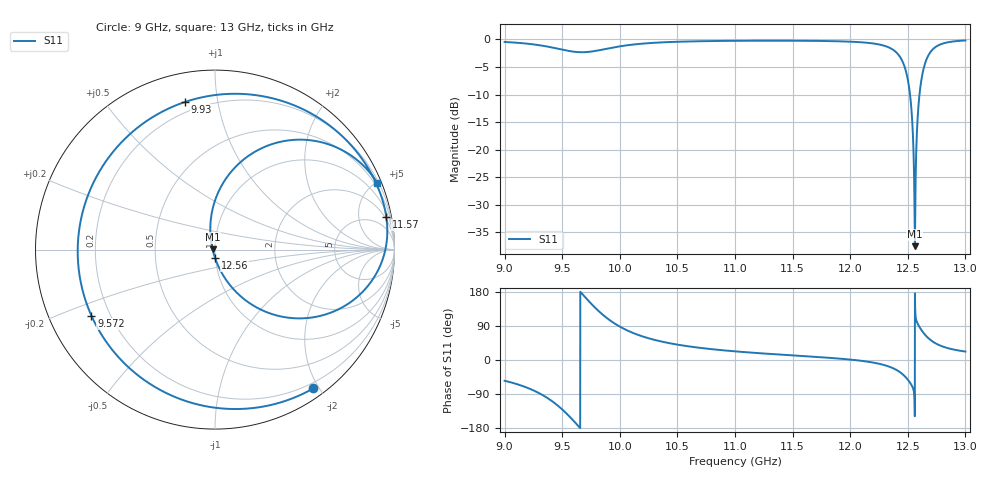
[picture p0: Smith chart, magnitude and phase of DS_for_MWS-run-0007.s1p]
! TOUCHSTONE file generated by CST DESIGN STUDIO
! Date and time: Tue Feb  4 18:17:02 2025
! Project name: C:\Work\MatlabApps\UnitCellOptimizationMatlab\CST\unitcell.cst
! Tree item: Tasks\Sweep1\SPara1\S-Parameters
! Header version: 2024
! Port assignment regex: !\s*Touchstone port\s*([0-9]+)\s*=\s*(CST MWS port|CST DES external port|CST DES block port)\s*(.+)\s* \(\"(.*)\"\)(\s*mode\s*([0-9]+))?.*
! Touchstone port assignment:
! Touchstone port 1 = CST DES external port 1 ("")
# GHz S MA R 50
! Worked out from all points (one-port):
!   4001 points, 9 GHz to 13 GHz, reference 50 ohm
!   lowest |S11| = -37.5 dB at 12.56 GHz (marker M1), VSWR 1.03, Z = 48.7 + j0.0948 ohm
!   |S11| at or under -10 dB: 12.52 GHz to 12.6 GHz (82.21 MHz wide, 0.655 % of centre)
!   S11 on the Smith chart (normalised r, x): 9 GHz: 0.13, -1.92; 9.572 GHz: 0.13, -0.25; 9.93 GHz: 0.14, +0.81; 11.57 GHz: 2, +10; 12.56 GHz: 1.00, -0.09; 13 GHz: 0.30, +5.05
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9  0.9475 -54.7
9.162  0.9218 -69.3
9.314  0.8812 -89.8
9.5  0.8073 -130.4
9.572  0.7808 -151.8
9.72  0.7687 158.7
9.825  0.7988 126.7
9.93  0.8396 101.4
10  0.8647 88.1
10.221  0.9193 59.9
10.5  0.9513 40.6
11  0.9705 22.8
11.5  0.9724 12.2
11.571  0.9715 10.8
12  0.9529 1.1
12.337  0.8439 -17.4
12.424  0.7141 -30.4
12.5  0.4324 -51.8
12.528  0.2573 -64.0
12.546  0.1242 -75.0
12.556  0.04624 -89.8
12.562  0.01335 175.8
12.575  0.1105 103.7
12.59  0.2295 93.2
12.606  0.3485 84.8
12.663  0.6604 62.2
12.792  0.908 36.8
13  0.9777 22.3
